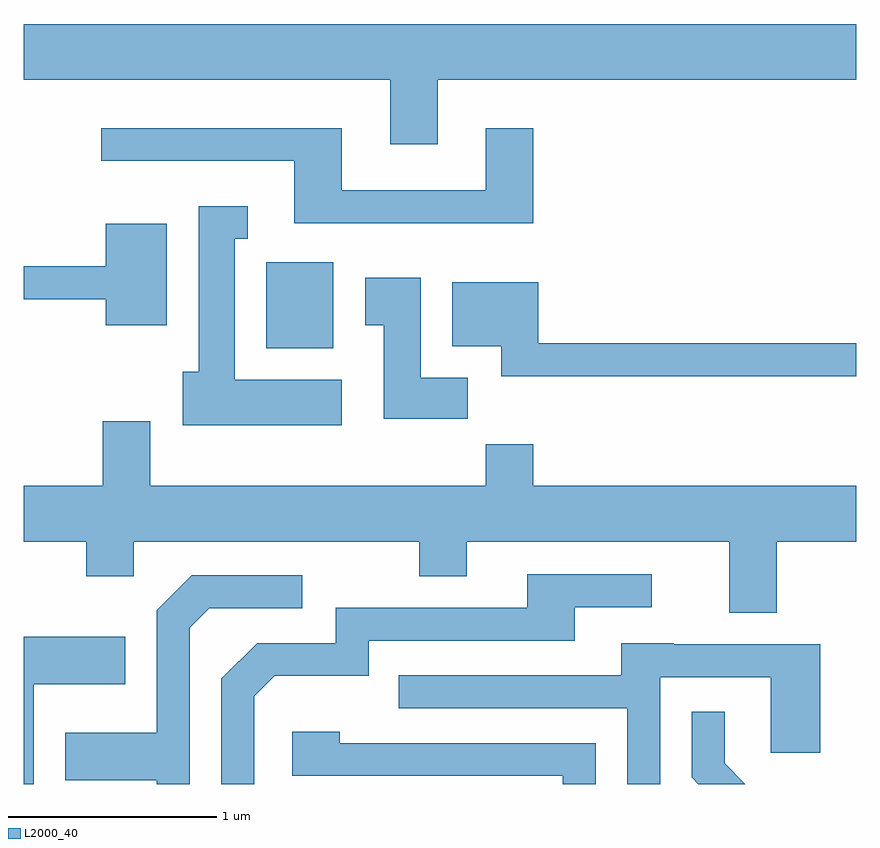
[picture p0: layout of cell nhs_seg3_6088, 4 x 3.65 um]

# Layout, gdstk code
import gdstk
lib = gdstk.Library(unit=1e-6, precision=1e-09)
def R(c, l, rs):  # rectangles x0, y0, x1, y1
    for r in rs: c.add(gdstk.rectangle(r[:2], r[2:], *l))
def P(c, l, *ps):  # polygons
    for p in ps: c.add(gdstk.Polygon(p, *l))
L2000_40 = (2000, 40)

nhs_seg3_6088 = lib.new_cell('nhs_seg3_6088')
R(nhs_seg3_6088, L2000_40, [(364.776,1197.986,365.099,1198.399)])
P(nhs_seg3_6088, L2000_40, [(365.599,1199.276),(367.611,1199.276),(367.611,1199.544),(363.611,1199.544),(363.611,1199.276),(365.371,1199.276),(365.371,1198.966),(365.599,1198.966)],
  [(366.059,1199.044),(365.831,1199.044),(365.831,1198.744),(365.139,1198.744),(365.139,1199.044),(363.983,1199.044),(363.983,1198.886),(364.911,1198.886),(364.911,1198.586),(366.059,1198.586)],
  [(365.139,1197.834),(364.624,1197.834),(364.624,1198.511),(364.688,1198.511),(364.688,1198.669),(364.451,1198.669),(364.451,1197.874),(364.376,1197.874),(364.376,1197.616),(365.139,1197.616)],
  [(364.299,1198.584),(364.006,1198.584),(364.006,1198.379),(363.611,1198.379),(363.611,1198.221),(364.006,1198.221),(364.006,1198.096),(364.299,1198.096)],
  [(365.744,1197.844),(365.519,1197.844),(365.519,1198.324),(365.251,1198.324),(365.251,1198.096),(365.341,1198.096),(365.341,1197.646),(365.744,1197.646)],
  [(367.611,1198.009),(366.084,1198.009),(366.084,1198.304),(365.671,1198.304),(365.671,1197.996),(365.906,1197.996),(365.906,1197.851),(367.611,1197.851)],
  [(367.229,1197.056),(367.611,1197.056),(367.611,1197.324),(366.059,1197.324),(366.059,1197.524),(365.831,1197.524),(365.831,1197.324),(364.219,1197.324),(364.219,1197.634),(363.991,1197.634),(363.991,1197.324),(363.611,1197.324),(363.611,1197.056),(363.911,1197.056),(363.911,1196.891),(364.139,1196.891),(364.139,1197.056),(365.511,1197.056),(365.511,1196.891),(365.739,1196.891),(365.739,1197.056),(367.001,1197.056),(367.001,1196.716),(367.229,1196.716)],
  [(364.719,1196.314),(364.817,1196.411),(365.269,1196.411),(365.269,1196.581),(366.259,1196.581),(366.259,1196.741),(366.628,1196.741),(366.628,1196.899),(366.031,1196.899),(366.031,1196.739),(365.111,1196.739),(365.111,1196.569),(364.734,1196.569),(364.561,1196.397),(364.561,1195.892),(364.719,1195.892)],
  [(364.409,1196.644),(364.502,1196.736),(364.948,1196.736),(364.948,1196.894),(364.419,1196.894),(364.251,1196.727),(364.251,1196.139),(363.811,1196.139),(363.811,1195.911),(364.251,1195.911),(364.251,1195.892),(364.409,1195.892)],
  [(363.659,1196.371),(364.099,1196.371),(364.099,1196.599),(363.611,1196.599),(363.611,1195.892),(363.659,1195.892)],
  [(366.669,1196.406),(367.201,1196.406),(367.201,1196.041),(367.439,1196.041),(367.439,1196.564),(366.735,1196.564),(366.735,1196.569),(366.481,1196.569),(366.481,1196.414),(365.413,1196.414),(365.413,1196.256),(366.511,1196.256),(366.511,1195.892),(366.669,1195.892)],
  [(366.979,1195.992),(366.979,1196.238),(366.821,1196.238),(366.821,1195.924),(366.853,1195.892),(367.079,1195.892)],
  [(366.359,1196.089),(365.129,1196.089),(365.129,1196.144),(364.901,1196.144),(364.901,1195.931),(366.201,1195.931),(366.201,1195.892),(366.359,1195.892)])

lib.write_gds('nhs_seg3_6088.gds')
